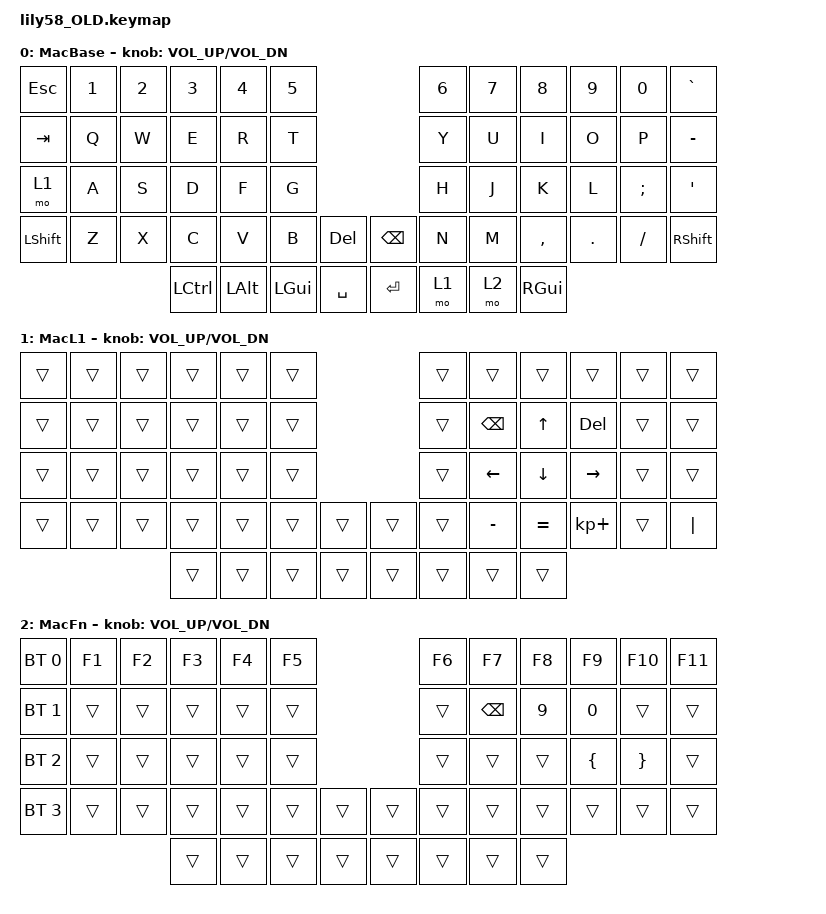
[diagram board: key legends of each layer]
#include <behaviors.dtsi>
#include <behaviors/num_word.dtsi> // Requires auto-layer module.
#include <dt-bindings/zmk/keys.h>

#include <dt-bindings/zmk/bt.h> // wireless
#include <dt-bindings/zmk/outputs.h>

#include <dt-bindings/zmk/ext_power.h>

/ {
    keymap {
        compatible = "zmk,keymap";

        default_layer {
// ╭──────┬─────┬─────┬─────┬─────┬─────╮              ╭──────┬─────┬─────┬─────┬─────┬──────╮
// |  ESC |  1  |  2  |  3  |  4  |  5  |              |  6   |  7  |  8  |  9  |  0  |  `   |
// |  TAB |  Q  |  W  |  E  |  R  |  T  |              |  Y   |  U  |  I  |  O  |  P  |  -   |
// | MO(1)|  A  |  S  |  D  |  F  |  G  ├──────╮ ╭─────┤  H   |  J  |  K  |  L  |  ;  |  '   |
// | SHIFT|  Z  |  X  |  C  |  V  |  B  |  DEL | | BKSP|  N   |  M  |  ,  |  .  |  /  | SHIFT|
// ╰──────┴─────┴─────┤ CTRL| ALT | GUI | SPACE| |ENTER| MO(1)|MO(2)| GUI ├─────┴─────┴──────╯
//                    ╰─────┴─────┴─────┴──────╯ ╰─────┴──────┴─────┴─────╯
            display-name = "MacBase";
            bindings = <
//╭───────────┬───────────┬───────────┬───────────┬───────────┬───────────╮                         ╭───────────┬───────────┬───────────┬───────────┬───────────┬───────────╮
    &kp ESC     &kp N1      &kp N2      &kp N3      &kp N4      &kp N5                                &kp N6      &kp N7      &kp N8      &kp N9      &kp N0      &kp GRAVE
//├───────────┼───────────┼───────────┼───────────┼───────────┼───────────┤                         ├───────────┼───────────┼───────────┼───────────┼───────────┼───────────┤
    &kp TAB     &kp Q       &kp W       &kp E       &kp R       &kp T                                 &kp Y       &kp U       &kp I       &kp O       &kp P       &kp MINUS
//├───────────┼───────────┼───────────┼───────────┼───────────┼───────────┤                         ├───────────┼───────────┼───────────┼───────────┼───────────┼───────────┤
    &mo 1       &kp A       &kp S       &kp D       &kp F       &kp G                                 &kp H       &kp J       &kp K       &kp L       &kp SEMI    &kp SQT
//├───────────┼───────────┼───────────┼───────────┼───────────┼───────────┼────────────╮╭───────────┼───────────┼───────────┼───────────┼───────────┼───────────┼───────────┤
    &kp LSHFT   &kp Z       &kp X       &kp C       &kp V       &kp B        &kp DEL       &kp BSPC   &kp N       &kp M       &kp COMMA   &kp DOT     &kp FSLH    &kp RSHFT
//╰───────────┴───────────┴───────────┼───────────┼───────────┼───────────┼────────────┤├───────────┼───────────┼───────────┼───────────┼───────────┴───────────┴───────────╯
                                        &kp LCTRL   &kp LALT    &kp LGUI     &kp SPACE     &kp RET    &mo 1       &mo 2       &kp RGUI
//                                    ╰───────────┴───────────┴───────────┴────────────╯╰───────────┴───────────┴───────────┴───────────╯
            >;

            sensor-bindings = <&inc_dec_kp C_VOL_UP C_VOL_DN>;
        };

        lower_layer {
// ╭──────┬─────┬─────┬─────┬─────┬─────╮              ╭──────┬─────┬─────┬─────┬─────┬──────╮
// |      |     |     |     |     |     |              |      |     |     |     |     |      |
// |      |     |     |     |     |     |              |      | BKSP|  ^  | DEL |     |      |
// |      | CRTL| ALT |SHIFT| GUI |     ├──────╮ ╭─────┤      | <-  |  v  |  -> |     |      |
// |      |     |     |     |     |     |      | |     |      |  -  |  =  |  +  |     |  |\  |
// ╰──────┴─────┴─────┤     |     |     |      | |     |      |     |     ├─────┴─────┴──────╯
//                    ╰─────┴─────┴─────┴──────╯ ╰─────┴──────┴─────┴─────╯
            display-name = "MacL1";
            bindings = <
//╭───────────┬───────────┬───────────┬───────────┬───────────┬───────────╮                         ╭───────────┬───────────┬───────────┬───────────┬───────────┬───────────╮
    &trans      &trans      &trans      &trans      &trans      &trans                                &trans      &trans      &trans      &trans      &trans      &trans
//├───────────┼───────────┼───────────┼───────────┼───────────┼───────────┤                         ├───────────┼───────────┼───────────┼───────────┼───────────┼───────────┤
    &trans      &trans      &trans      &trans      &trans      &trans                                &trans      &kp BSPC    &kp UP      &kp DEL     &trans      &trans
//├───────────┼───────────┼───────────┼───────────┼───────────┼───────────┤                         ├───────────┼───────────┼───────────┼───────────┼───────────┼───────────┤
    &trans      &trans      &trans      &trans      &trans      &trans                                &trans      &kp LEFT    &kp DOWN    &kp RIGHT   &trans      &trans
//├───────────┼───────────┼───────────┼───────────┼───────────┼───────────┼────────────╮╭───────────┼───────────┼───────────┼───────────┼───────────┼───────────┼───────────┤
    &trans      &trans      &trans      &trans      &trans       &trans     &trans        &trans      &trans      &kp MINUS   &kp EQUAL   &kp KP_PLUS &trans      &kp PIPE
//╰───────────┼───────────┴───────────┼───────────┼───────────┼───────────┼────────────┤├───────────┼───────────┼───────────┼───────────┼───────────┴───────────┴───────────╯
                                        &trans      &trans       &trans     &trans        &trans      &trans      &trans      &trans
//                                    ╰───────────┴───────────┴───────────┴────────────╯╰───────────┴───────────┴───────────┴───────────╯
            >;

            sensor-bindings = <&inc_dec_kp C_VOL_UP C_VOL_DN>;
        };

        raise_layer {
// ╭──────┬─────┬─────┬─────┬─────┬─────╮              ╭──────┬─────┬─────┬─────┬─────┬──────╮
// | BT0  | F1  | F2  | F3  | F4  | F5  |              | F6   | F7  | F8  | F9  | F10 | F11  |
// | BT1  |     |     |     |     |     |              |      |     |     |     |     |      |
// | BT2  |     |     |     |     |     ├──────╮ ╭─────┤      |     |     |     |     |      |
// | BT3  |     |     |     |     |     |      | |     |      |     |     |     |     |      |
// ╰──────┴─────┴─────┤     |     |     |      | |     |      |     |     ├─────┴─────┴──────╯
//                    ╰─────┴─────┴─────┴──────╯ ╰─────┴──────┴─────┴─────╯            
            display-name = "MacFn";
            bindings = <
//╭───────────┬───────────┬───────────┬───────────┬───────────┬───────────╮                         ╭───────────┬───────────┬───────────┬───────────┬───────────┬───────────╮
   &bt BT_SEL 0 &kp F1      &kp F2      &kp F3      &kp F4      &kp F5                                &kp F6      &kp F7      &kp F8      &kp F9      &kp F10     &kp F11
//├───────────┼───────────┼───────────┼───────────┼───────────┼───────────┤                         ├───────────┼───────────┼───────────┼───────────┼───────────┼───────────┤
   &bt BT_SEL 1 &trans      &trans      &trans      &trans      &trans                                &trans      &kp BSPC    &kp N9      &kp N0      &trans      &trans
//├───────────┼───────────┼───────────┼───────────┼───────────┼───────────┤                         ├───────────┼───────────┼───────────┼───────────┼───────────┼───────────┤
   &bt BT_SEL 2 &trans      &trans      &trans      &trans      &trans                                &trans      &trans      &trans      &kp LBRC    &kp RBRC    &trans
//├───────────┼───────────┼───────────┼───────────┼───────────┼───────────┼────────────╮╭───────────┼───────────┼───────────┼───────────┼───────────┼───────────┼───────────┤
   &bt BT_SEL 3 &trans      &trans      &trans      &trans      &trans      &trans        &trans      &trans      &trans      &trans      &trans      &trans      &trans
//╰───────────┼───────────┴───────────┼───────────┼───────────┼───────────┼────────────┤├───────────┼───────────┼───────────┼───────────┼───────────┴───────────┴───────────╯
                                        &trans      &trans      &trans      &trans        &trans      &trans      &trans      &trans
//                                    ╰───────────┴───────────┴───────────┴────────────╯╰───────────┴───────────┴───────────┴───────────╯
            >;

            sensor-bindings = <&inc_dec_kp C_VOL_UP C_VOL_DN>;
        };

        extra_1 {
            status = "reserved";
        };

        extra_2 {
            status = "reserved";
        };

        extra_3 {
            status = "reserved";
        };
    };
};
